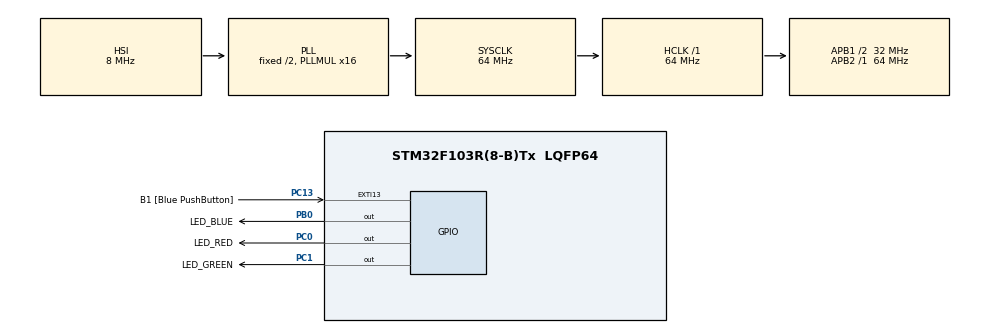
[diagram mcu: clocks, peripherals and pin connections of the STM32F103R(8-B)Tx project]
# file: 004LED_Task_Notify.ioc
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Mcu.Family=STM32F1
Mcu.Name=STM32F103R(8-B)Tx
Mcu.Package=LQFP64
NVIC.EXTI15_10_IRQn=true\:0\:0\:false\:false\:true\:true\:true\:true
NVIC.PriorityGroup=NVIC_PRIORITYGROUP_4
NVIC.TIM4_IRQn=true\:15\:0\:false\:false\:true\:false\:true\:true
NVIC.TimeBase=TIM4_IRQn
NVIC.TimeBaseIP=TIM4
PA13.GPIO_Label=TMS
PA13.Mode=Serial_Wire
PA13.Signal=SYS_JTMS-SWDIO
PA14.GPIO_Label=TCK
PA14.Mode=Serial_Wire
PA14.Signal=SYS_JTCK-SWCLK
PA2.GPIO_Label=USART_TX
PA2.GPIO_Mode=GPIO_MODE_AF_PP
PA2.GPIO_PuPd=GPIO_NOPULL
PA2.GPIO_Speed=GPIO_SPEED_FREQ_LOW
PA2.Signal=USART2_TX
PA3.GPIO_Label=USART_RX
PA3.GPIO_Mode=GPIO_MODE_AF_PP
PA3.GPIO_PuPd=GPIO_NOPULL
PA3.GPIO_Speed=GPIO_SPEED_FREQ_LOW
PA3.Signal=USART2_RX
PB0.GPIO_Label=LED_BLUE
PB0.Signal=GPIO_Output
PB3.GPIO_Label=SWO
PB3.Signal=SYS_JTDO-TRACESWO
PC0.GPIO_Label=LED_RED
PC0.Signal=GPIO_Output
PC1.GPIO_Label=LED_GREEN
PC1.Signal=GPIO_Output
PC13-TAMPER-RTC.GPIO_Label=B1 [Blue PushButton]
PC13-TAMPER-RTC.GPIO_ModeDefaultEXTI=GPIO_MODE_IT_FALLING
PC13-TAMPER-RTC.GPIO_PuPd=GPIO_NOPULL
PC13-TAMPER-RTC.Signal=GPXTI13
PC14-OSC32_IN.Signal=RCC_OSC32_IN
PC15-OSC32_OUT.Signal=RCC_OSC32_OUT
PD0-OSC_IN.Signal=RCC_OSC_IN
PD1-OSC_OUT.Signal=RCC_OSC_OUT
ProjectManager.HeapSize=0x200
ProjectManager.StackSize=0x400
ProjectManager.TargetToolchain=STM32CubeIDE
RCC.AHBFreq_Value=64000000
RCC.APB1CLKDivider=RCC_HCLK_DIV2
RCC.APB1Freq_Value=32000000
RCC.APB1TimFreq_Value=64000000
RCC.APB2Freq_Value=64000000
RCC.APB2TimFreq_Value=64000000
RCC.HCLKFreq_Value=64000000
RCC.PLLMUL=RCC_PLL_MUL16
RCC.SYSCLKFreq_VALUE=64000000
RCC.SYSCLKSource=RCC_SYSCLKSOURCE_PLLCLK
RCC.USBFreq_Value=64000000
VP_SYS_VS_tim4.Mode=TIM4
board=NUCLEO-F103RB

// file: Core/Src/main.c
/* USER CODE BEGIN Header */
/**
  ******************************************************************************
  * @file           : main.c
  * @brief          : Main program body
  ******************************************************************************
  * @attention
  *
  * Copyright (c) 2025 STMicroelectronics.
  * All rights reserved.
  *
  * This software is licensed under terms that can be found in the LICENSE file
  * in the root directory of this software component.
  * If no LICENSE file comes with this software, it is provided AS-IS.
  *
  ******************************************************************************
  */
/* USER CODE END Header */
#include "main.h"

/* USER CODE BEGIN Includes */
#include "FreeRTOS.h"
#include "task.h"
/* USER CODE END Includes */

void SystemClock_Config(void);
static void MX_GPIO_Init(void);
/* USER CODE BEGIN PFP */
static void led_red_handler(void* parameters);
static void led_green_handler(void* parameters);
static void led_blue_handler(void* parameters);
static void button_handler(void* parameters);
/* USER CODE END PFP */

/* USER CODE BEGIN 0 */
#define DWT_CTRL	(*(volatile uint32_t*) 0xE0001000)

TaskHandle_t task1_handle;
TaskHandle_t task2_handle;
TaskHandle_t task3_handle;
TaskHandle_t btn_task_handle;
TaskHandle_t volatile current_task_handle;

/* USER CODE END 0 */

int main(void)
{

  /* USER CODE BEGIN 1 */
  BaseType_t status;
  /* USER CODE END 1 */

  /* MCU Configuration--------------------------------------------------------*/

  /* Reset of all peripherals, Initializes the Flash interface and the Systick. */
  HAL_Init();

  /* Configure the system clock */
  SystemClock_Config();

  /* Initialize all configured peripherals */
  MX_GPIO_Init();
  /* USER CODE BEGIN 2 */
  DWT_CTRL |= (1 << 0);

  SEGGER_SYSVIEW_Conf();

  SEGGER_SYSVIEW_Start();

  HAL_NVIC_SetPriorityGrouping(NVIC_PRIORITYGROUP_4);
  HAL_NVIC_SetPriority(PendSV_IRQn,  15, 0);
  HAL_NVIC_SetPriority(SysTick_IRQn, 15, 0);

  status = xTaskCreate(led_red_handler, "LED_RED_task", 200, NULL, 1, &task1_handle);

  configASSERT(status == pdPASS);

  current_task_handle = task1_handle;

  status = xTaskCreate(led_green_handler, "LED_GREEN_task", 200, NULL, 2, &task2_handle);

  configASSERT(status == pdPASS);

  status = xTaskCreate(led_blue_handler, "LED_BLUE_task", 200, NULL, 3, &task3_handle);

  configASSERT(status == pdPASS);

  status = xTaskCreate(button_handler, "Button_task", 200, NULL, 4, &btn_task_handle);

  configASSERT(status == pdPASS);

  vTaskStartScheduler();
  /* USER CODE END 2 */

  /* Infinite loop */
  while (1)
  {

  }
}

void SystemClock_Config(void)
{
  RCC_OscInitTypeDef RCC_OscInitStruct = {0};
  RCC_ClkInitTypeDef RCC_ClkInitStruct = {0};

  /** Initializes the RCC Oscillators according to the specified parameters
  * in the RCC_OscInitTypeDef structure.
  */
  RCC_OscInitStruct.OscillatorType = RCC_OSCILLATORTYPE_HSI;
  RCC_OscInitStruct.HSIState = RCC_HSI_ON;
  RCC_OscInitStruct.HSICalibrationValue = RCC_HSICALIBRATION_DEFAULT;
  RCC_OscInitStruct.PLL.PLLState = RCC_PLL_ON;
  RCC_OscInitStruct.PLL.PLLSource = RCC_PLLSOURCE_HSI_DIV2;
  RCC_OscInitStruct.PLL.PLLMUL = RCC_PLL_MUL16;
  if (HAL_RCC_OscConfig(&RCC_OscInitStruct) != HAL_OK)
  {
    Error_Handler();
  }

  /** Initializes the CPU, AHB and APB buses clocks
  */
  RCC_ClkInitStruct.ClockType = RCC_CLOCKTYPE_HCLK|RCC_CLOCKTYPE_SYSCLK
                              |RCC_CLOCKTYPE_PCLK1|RCC_CLOCKTYPE_PCLK2;
  RCC_ClkInitStruct.SYSCLKSource = RCC_SYSCLKSOURCE_PLLCLK;
  RCC_ClkInitStruct.AHBCLKDivider = RCC_SYSCLK_DIV1;
  RCC_ClkInitStruct.APB1CLKDivider = RCC_HCLK_DIV2;
  RCC_ClkInitStruct.APB2CLKDivider = RCC_HCLK_DIV1;

  if (HAL_RCC_ClockConfig(&RCC_ClkInitStruct, FLASH_LATENCY_2) != HAL_OK)
  {
    Error_Handler();
  }
}

static void MX_GPIO_Init(void)
{
  GPIO_InitTypeDef GPIO_InitStruct = {0};

  /* GPIO Ports Clock Enable */
  __HAL_RCC_GPIOC_CLK_ENABLE();
  __HAL_RCC_GPIOD_CLK_ENABLE();
  __HAL_RCC_GPIOA_CLK_ENABLE();
  __HAL_RCC_GPIOB_CLK_ENABLE();

  /*Configure GPIO pin Output Level */
  HAL_GPIO_WritePin(GPIOC, LED_RED_Pin|LED_GREEN_Pin, GPIO_PIN_RESET);

  /*Configure GPIO pin Output Level */
  HAL_GPIO_WritePin(LED_BLUE_GPIO_Port, LED_BLUE_Pin, GPIO_PIN_RESET);

  /*Configure GPIO pin : B1_Pin */
  GPIO_InitStruct.Pin = B1_Pin;
  GPIO_InitStruct.Mode = GPIO_MODE_IT_FALLING;
  GPIO_InitStruct.Pull = GPIO_NOPULL;
  HAL_GPIO_Init(B1_GPIO_Port, &GPIO_InitStruct);

  /*Configure GPIO pins : LED_RED_Pin LED_GREEN_Pin */
  GPIO_InitStruct.Pin = LED_RED_Pin|LED_GREEN_Pin;
  GPIO_InitStruct.Mode = GPIO_MODE_OUTPUT_PP;
  GPIO_InitStruct.Pull = GPIO_NOPULL;
  GPIO_InitStruct.Speed = GPIO_SPEED_FREQ_LOW;
  HAL_GPIO_Init(GPIOC, &GPIO_InitStruct);

  /*Configure GPIO pins : USART_TX_Pin USART_RX_Pin */
  GPIO_InitStruct.Pin = USART_TX_Pin|USART_RX_Pin;
  GPIO_InitStruct.Mode = GPIO_MODE_AF_PP;
  GPIO_InitStruct.Speed = GPIO_SPEED_FREQ_LOW;
  HAL_GPIO_Init(GPIOA, &GPIO_InitStruct);

  /*Configure GPIO pin : LED_BLUE_Pin */
  GPIO_InitStruct.Pin = LED_BLUE_Pin;
  GPIO_InitStruct.Mode = GPIO_MODE_OUTPUT_PP;
  GPIO_InitStruct.Pull = GPIO_NOPULL;
  GPIO_InitStruct.Speed = GPIO_SPEED_FREQ_LOW;
  HAL_GPIO_Init(LED_BLUE_GPIO_Port, &GPIO_InitStruct);

  /* EXTI interrupt init*/
  HAL_NVIC_SetPriority(EXTI15_10_IRQn, 0, 0);
  HAL_NVIC_EnableIRQ(EXTI15_10_IRQn);

}

/* USER CODE BEGIN 4 */
static void led_red_handler(void* parameters)
{
	BaseType_t status;

	while(1)
	{
		HAL_GPIO_TogglePin(LED_RED_GPIO_Port, LED_RED_Pin);
		status = xTaskNotifyWait(0,0,NULL,pdMS_TO_TICKS(1000));
		if (status == pdTRUE)
		{
			current_task_handle = task2_handle;
			HAL_GPIO_WritePin(LED_RED_GPIO_Port, LED_RED_Pin, GPIO_PIN_SET);
			vTaskSuspend(NULL);
		}
	}
}

static void led_green_handler(void* parameters)
{
	BaseType_t status;

	while(1)
	{
		HAL_GPIO_TogglePin(LED_GREEN_GPIO_Port, LED_GREEN_Pin);
		status = xTaskNotifyWait(0,0,NULL,pdMS_TO_TICKS(1000));
		if (status == pdTRUE)
		{
			current_task_handle = task3_handle;
			HAL_GPIO_WritePin(LED_GREEN_GPIO_Port, LED_GREEN_Pin, GPIO_PIN_SET);
			vTaskSuspend(NULL);
		}
	}
}

static void led_blue_handler(void* parameters)
{
	BaseType_t status;

	while(1)
	{
		HAL_GPIO_TogglePin(LED_BLUE_GPIO_Port, LED_BLUE_Pin);
		status = xTaskNotifyWait(0,0,NULL,pdMS_TO_TICKS(1000));
		if (status == pdTRUE)
		{
			current_task_handle = NULL;
			HAL_GPIO_WritePin(LED_BLUE_GPIO_Port, LED_BLUE_Pin, GPIO_PIN_SET);
			vTaskSuspend(NULL);
		}
	}
}

static void button_handler(void* parameters)
{
	uint8_t btn_read = 0;
	uint8_t prev_read = HAL_GPIO_ReadPin(GPIOC, GPIO_PIN_13);;
	TickType_t btn_tick = 0;
	while(1)
	{
		btn_read = HAL_GPIO_ReadPin(GPIOC, GPIO_PIN_13);

		// falling edge trigger
		if(btn_read == 0 && prev_read == 1)
		{
			btn_tick = xTaskGetTickCount();
		}

		// rising edge trigger
		if(btn_read == 1 && prev_read == 0)
		{
			TickType_t held = xTaskGetTickCount() - btn_tick;

			if (held >= pdMS_TO_TICKS(2000))
			{
				vTaskSuspendAll();
				vTaskResume(task1_handle);
				vTaskResume(task2_handle);
				vTaskResume(task3_handle);
				current_task_handle = task1_handle;
				xTaskResumeAll();
			}
			else
			{
				if (current_task_handle)
				{
					vTaskResume(current_task_handle);
					xTaskNotify(current_task_handle, 0, eNoAction);
				}
			}
		}
		prev_read = btn_read;
		vTaskDelay(pdMS_TO_TICKS(10));
	}
}
/* USER CODE END 4 */

void HAL_TIM_PeriodElapsedCallback(TIM_HandleTypeDef *htim)
{
  if (htim->Instance == TIM4)
  {
    HAL_IncTick();
  }
}

void Error_Handler(void)
{
  __disable_irq();
  while (1)
  {
  }
}
